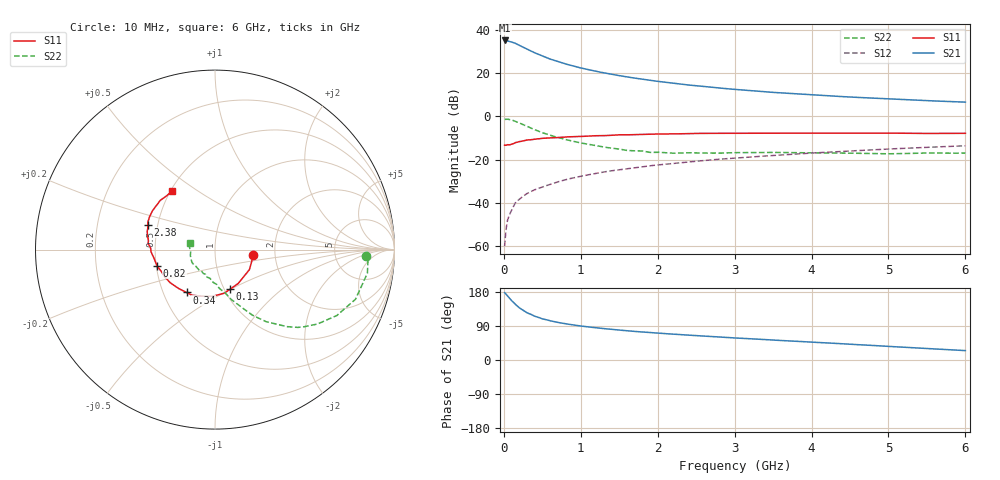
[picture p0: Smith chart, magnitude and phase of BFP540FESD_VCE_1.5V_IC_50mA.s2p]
! Infineon Technologies  Discrete & RF Semiconductors
! BFP540FESD
! VCE =  1.5 V,  IC =  50 mA
! Common Emitter S-Parameters:  Nov 2015
# GHz  S  MA  R  50
!  f  S11  S21  S12  S22
! GHz  MAG  ANG  MAG  ANG  MAG  ANG  MAG  ANG
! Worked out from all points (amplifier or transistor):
!   210 points, 10 MHz to 6 GHz, reference 50 ohm
!   highest |S21| = 35.1 dB at 10 MHz (marker M1)
!   |S21| within 3 dB of that: start of sweep to 244.6 MHz
!   unconditionally stable (mu >= 1): start of sweep to 27.62 MHz; 1.102 GHz to end of sweep
!   at 185 MHz: K = 0.51, MSG = 36.0 dB, |S12| = -38.8 dB
!   at 1.52 GHz: K = 1.05, MAG = 20.3 dB, |S12| = -24.6 dB
!   at 6 GHz: K = 1.18, MAG = 7.5 dB, |S12| = -13.6 dB
!   S11 on the Smith chart (normalised r, x): 10 MHz: 1.54, -0.09; 130 MHz: 1.06, -0.50; 340 MHz: 0.66, -0.34; 820 MHz: 0.50, -0.10; 2.38 GHz: 0.44, +0.15; 6 GHz: 0.51, +0.40
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0.01  0.2152 -7.4  56.72 177.6  0.001 122.0  0.8428 -2.5
0.02  0.2146 -15.6  54.98 175.8  0.0017 102.4  0.8544 -1.8
0.05  0.2219 -30.2  55.3 168.7  0.0041 92.8  0.8593 -8.8
0.1  0.2288 -55.5  52.39 156.9  0.0067 80.6  0.8301 -19.5
0.13  0.2363 -69.5  49.98 151.0  0.0087 77.7  0.7928 -24.7
0.15  0.2486 -78.0  48.69 146.7  0.01 76.4  0.7719 -28.4
0.2  0.2608 -93.3  44.02 137.9  0.0121 76.3  0.7055 -36.0
0.24  0.2676 -103.7  40.53 132.4  0.0138 73.1  0.6566 -40.9
0.3  0.2847 -117.0  35.86 124.8  0.0164 71.0  0.5869 -47.0
0.34  0.2867 -123.6  33.2 121.5  0.0179 70.6  0.5482 -49.7
0.4  0.2967 -133.1  29.46 115.6  0.0201 70.0  0.4929 -54.6
0.5  0.3104 -143.5  24.77 108.7  0.0233 69.7  0.4192 -60.4
0.6  0.3185 -151.4  21.12 103.6  0.0267 69.3  0.3652 -64.3
0.82  0.3352 -164.6  15.94 95.0  0.035 68.6  0.2866 -72.5
1.02  0.3442 -172.6  12.89 89.2  0.0419 68.7  0.2395 -78.3
1.5  0.3746 175.1  8.722 79.0  0.0583 66.8  0.1755 -96.1
2.02  0.3915 164.8  6.38 70.6  0.0759 64.0  0.1476 -116.4
2.38  0.4 159.6  5.357 65.9  0.0877 61.9  0.1439 -127.3
3.1  0.4081 152.4  4.073 57.2  0.1117 57.1  0.145 -144.6
4.1  0.409 145.0  3.069 46.1  0.145 50.2  0.1429 -160.5
5.1  0.4084 136.9  2.488 34.8  0.179 41.7  0.1371 -176.5
6  0.4052 126.2  2.131 24.8  0.2088 33.9  0.1413 165.5
